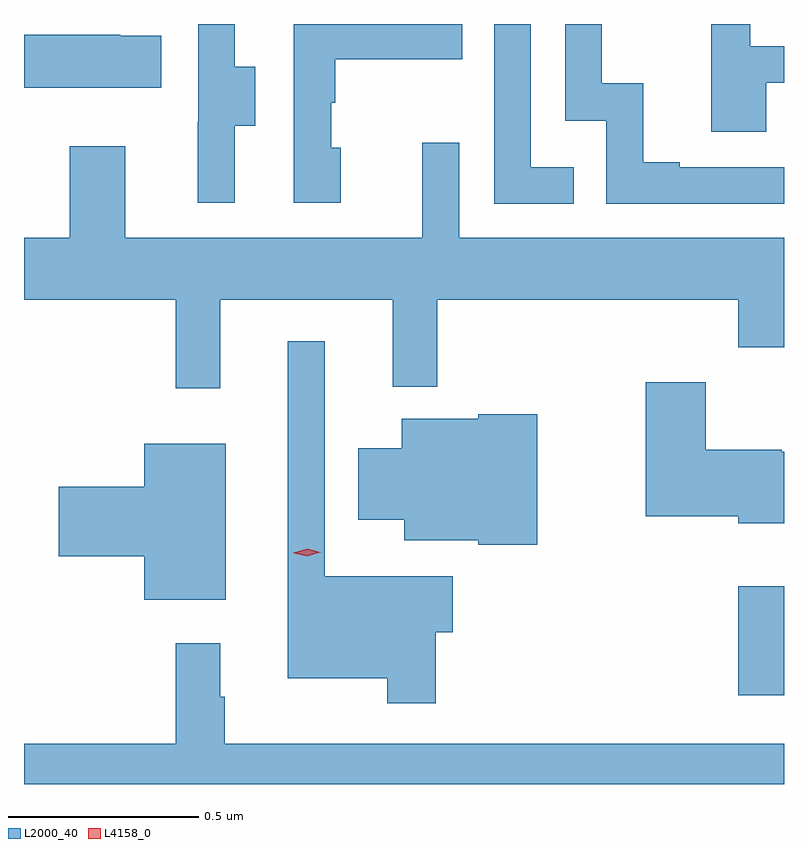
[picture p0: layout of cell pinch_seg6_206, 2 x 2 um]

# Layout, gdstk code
import gdstk
lib = gdstk.Library(unit=1e-6, precision=1e-09)
def R(c, l, rs):  # rectangles x0, y0, x1, y1
    for r in rs: c.add(gdstk.rectangle(r[:2], r[2:], *l))
def P(c, l, *ps):  # polygons
    for p in ps: c.add(gdstk.Polygon(p, *l))
L2000_40 = (2000, 40)
L4158_0 = (4158, 0)

pinch_seg6_206 = lib.new_cell('pinch_seg6_206')
R(pinch_seg6_206, L2000_40, [(1070.681,922.32,1070.802,922.606)])
P(pinch_seg6_206, L2000_40, [(1070.249,923.709),(1070.136,923.709),(1070.136,924.086),(1070.04,924.086),(1070.04,923.613),(1070.249,923.613)],
  [(1070.802,923.709),(1070.527,923.709),(1070.527,923.722),(1070.432,923.722),(1070.432,923.93),(1070.322,923.93),(1070.322,924.086),(1070.226,924.086),(1070.226,923.832),(1070.334,923.832),(1070.334,923.613),(1070.802,923.613)],
  [(1069.636,923.76),(1069.611,923.76),(1069.611,923.879),(1069.621,923.879),(1069.621,923.993),(1069.955,923.993),(1069.955,924.086),(1069.512,924.086),(1069.512,923.616),(1069.636,923.616)],
  [(1070.755,923.931),(1070.802,923.931),(1070.802,924.027),(1070.713,924.027),(1070.713,924.086),(1070.611,924.086),(1070.611,923.802),(1070.755,923.802)],
  [(1069.357,923.818),(1069.411,923.818),(1069.411,923.973),(1069.356,923.973),(1069.356,924.086),(1069.26,924.086),(1069.26,923.829),(1069.259,923.829),(1069.259,923.616),(1069.357,923.616)],
  [(1069.163,924.055),(1069.055,924.055),(1069.055,924.058),(1068.802,924.058),(1068.802,923.918),(1069.163,923.918)],
  [(1069.319,923.36),(1069.772,923.36),(1069.772,923.132),(1069.889,923.132),(1069.889,923.36),(1070.681,923.36),(1070.681,923.236),(1070.802,923.236),(1070.802,923.524),(1069.947,923.524),(1069.947,923.773),(1069.85,923.773),(1069.85,923.524),(1069.069,923.524),(1069.069,923.764),(1068.922,923.764),(1068.922,923.524),(1068.802,923.524),(1068.802,923.36),(1069.201,923.36),(1069.201,923.127),(1069.319,923.127)],
  [(1069.886,922.486),(1069.93,922.486),(1069.93,922.633),(1069.593,922.633),(1069.593,923.251),(1069.496,923.251),(1069.496,922.364),(1069.758,922.364),(1069.758,922.299),(1069.886,922.299)],
  [(1070.802,922.96),(1070.796,922.96),(1070.796,922.966),(1070.596,922.966),(1070.596,923.143),(1070.438,923.143),(1070.438,922.79),(1070.682,922.79),(1070.682,922.772),(1070.802,922.772)],
  [(1070.152,923.059),(1069.998,923.059),(1069.998,923.047),(1069.796,923.047),(1069.796,922.969),(1069.682,922.969),(1069.682,922.781),(1069.802,922.781),(1069.802,922.727),(1069.998,922.727),(1069.998,922.715),(1070.152,922.715)],
  [(1069.333,922.981),(1069.118,922.981),(1069.118,922.868),(1068.894,922.868),(1068.894,922.685),(1069.118,922.685),(1069.118,922.571),(1069.333,922.571)],
  [(1070.802,922.192),(1069.33,922.192),(1069.33,922.316),(1069.318,922.316),(1069.318,922.456),(1069.201,922.456),(1069.201,922.192),(1068.802,922.192),(1068.802,922.086),(1070.802,922.086)])
P(pinch_seg6_206, L4158_0, [(1069.548,922.685),(1069.512,922.693),(1069.512,922.693),(1069.512,922.694),(1069.547,922.705),(1069.582,922.696),(1069.583,922.696),(1069.582,922.696)])

lib.write_gds('pinch_seg6_206.gds')
